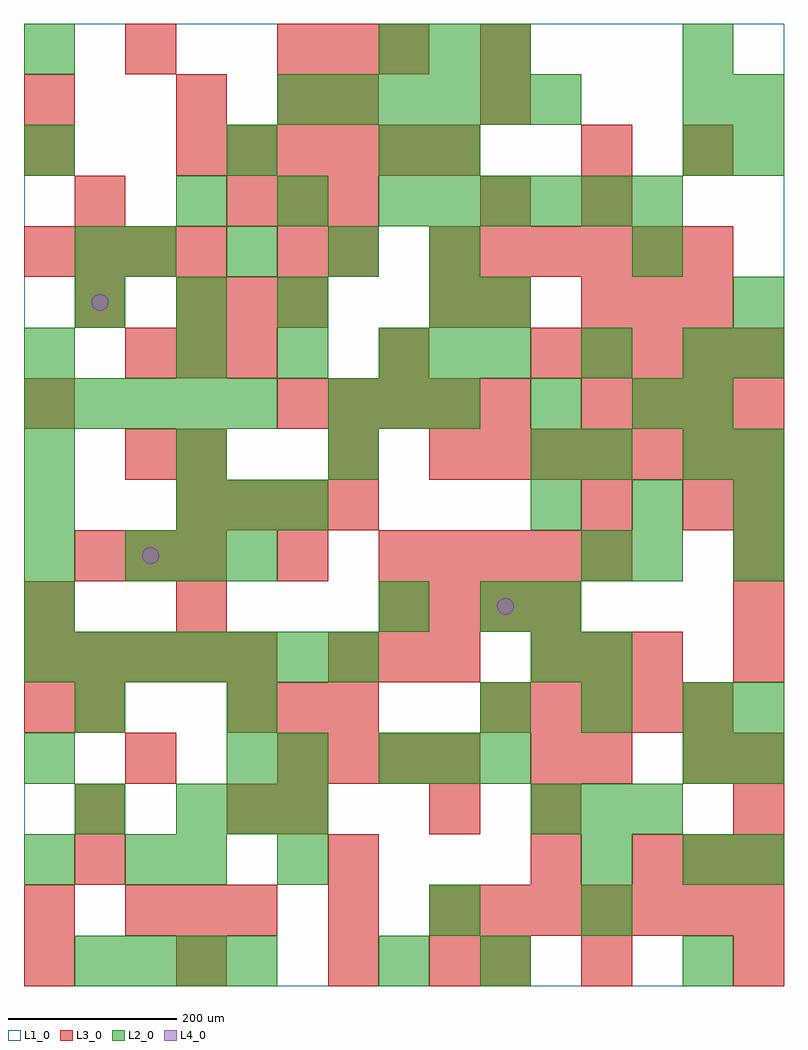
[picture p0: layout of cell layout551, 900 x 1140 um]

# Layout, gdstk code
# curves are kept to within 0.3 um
import gdstk
lib = gdstk.Library(unit=1e-6, precision=1e-09)
def R(c, l, rs):  # rectangles x0, y0, x1, y1
    for r in rs: c.add(gdstk.rectangle(r[:2], r[2:], *l))
def A(c, l, x, y, w, h, nx, ny, dx, dy):  # array of equal rectangles
    R(c, l, [(x+i*dx, y+j*dy, x+i*dx+w, y+j*dy+h) for i in range(nx) for j in range(ny)])
def P(c, l, *ps):  # polygons
    for p in ps: c.add(gdstk.Polygon(p, *l))
L1_0 = (1, 0)
L2_0 = (2, 0)
L3_0 = (3, 0)
L4_0 = (4, 0)

layout551 = lib.new_cell('layout551')
R(layout551, L1_0, [(0,0,900,1140)])
A(layout551, L2_0, 60, 0, 60, 60, 4, 1, 60, 0)
A(layout551, L2_0, 780, 0, 60, 60, 1, 3, 0, 120)
A(layout551, L2_0, 180, 180, 60, 60, 3, 2, 60, 360)
A(layout551, L2_0, 600, 180, 60, 60, 3, 1, 60, 0)
A(layout551, L2_0, 420, 240, 60, 60, 3, 2, 60, 840)
A(layout551, L2_0, 540, 300, 60, 60, 3, 2, 120, 420)
A(layout551, L2_0, 0, 360, 60, 60, 7, 1, 60, 0)
A(layout551, L2_0, 660, 360, 60, 60, 1, 3, 0, 120)
A(layout551, L2_0, 0, 420, 60, 60, 1, 3, 0, 60)
A(layout551, L2_0, 120, 480, 60, 60, 3, 1, 60, 0)
A(layout551, L2_0, 720, 480, 60, 60, 1, 3, 0, 180)
A(layout551, L2_0, 840, 480, 60, 60, 1, 3, 0, 120)
A(layout551, L2_0, 600, 540, 60, 60, 3, 1, 120, 0)
A(layout551, L2_0, 0, 600, 60, 60, 3, 1, 180, 0)
A(layout551, L2_0, 0, 660, 60, 60, 5, 1, 60, 0)
A(layout551, L2_0, 360, 660, 60, 60, 3, 1, 60, 0)
A(layout551, L2_0, 180, 720, 60, 60, 3, 2, 120, 180)
A(layout551, L2_0, 60, 780, 60, 60, 3, 1, 120, 0)
A(layout551, L2_0, 120, 840, 60, 60, 4, 1, 120, 0)
A(layout551, L2_0, 480, 900, 60, 60, 5, 1, 60, 0)
A(layout551, L2_0, 780, 960, 60, 60, 1, 3, 0, 60)
A(layout551, L2_0, 300, 1020, 60, 60, 6, 1, 60, 0)
R(layout551, L2_0, [(420,0,480,60), (540,0,600,60), (480,60,540,120), (660,60,720,120), (0,120,60,180), (120,120,180,180), (180,120,240,180), (300,120,360,180), (660,120,720,180), (840,120,900,180), (60,180,120,240), (0,240,60,300), (240,240,300,300), (300,240,360,300), (840,240,900,300), (60,300,120,360), (240,300,300,360), (840,300,900,360), (600,360,660,420), (420,420,480,480), (540,420,600,480), (600,420,660,480), (600,600,660,660), (780,600,840,660), (600,660,660,720), (780,660,840,720), (0,720,60,780), (480,720,540,780), (480,780,540,840), (540,780,600,840), (840,780,900,840), (60,840,120,900), (0,960,60,1020), (240,960,300,1020), (420,960,480,1020), (480,960,540,1020), (840,960,900,1020), (840,1020,900,1080), (0,1080,60,1140)])
A(layout551, L3_0, 0, 0, 60, 60, 3, 1, 180, 0)
A(layout551, L3_0, 120, 60, 60, 60, 3, 2, 60, 660)
A(layout551, L3_0, 480, 60, 60, 60, 7, 2, 60, 540)
A(layout551, L3_0, 600, 120, 60, 60, 1, 3, 0, 60)
A(layout551, L3_0, 720, 120, 60, 60, 3, 1, 60, 0)
A(layout551, L3_0, 300, 240, 60, 60, 4, 1, 60, 0)
A(layout551, L3_0, 240, 300, 60, 60, 3, 2, 60, 600)
A(layout551, L3_0, 540, 300, 60, 60, 5, 1, 60, 0)
A(layout551, L3_0, 0, 360, 60, 60, 5, 1, 60, 0)
A(layout551, L3_0, 360, 360, 60, 60, 3, 1, 60, 0)
A(layout551, L3_0, 600, 360, 60, 60, 3, 1, 60, 0)
A(layout551, L3_0, 840, 360, 60, 60, 1, 4, 0, 60)
A(layout551, L3_0, 420, 420, 60, 60, 4, 1, 60, 0)
A(layout551, L3_0, 60, 480, 60, 60, 3, 1, 60, 0)
A(layout551, L3_0, 420, 480, 60, 60, 5, 1, 60, 0)
A(layout551, L3_0, 180, 540, 60, 60, 4, 1, 60, 0)
A(layout551, L3_0, 300, 660, 60, 60, 5, 1, 60, 0)
A(layout551, L3_0, 660, 660, 60, 60, 4, 1, 60, 0)
A(layout551, L3_0, 600, 720, 60, 60, 5, 1, 60, 0)
A(layout551, L3_0, 180, 780, 60, 60, 3, 1, 60, 0)
A(layout551, L3_0, 540, 780, 60, 60, 1, 3, 0, 120)
A(layout551, L3_0, 660, 780, 60, 60, 3, 1, 60, 0)
A(layout551, L3_0, 0, 840, 60, 60, 4, 1, 60, 0)
A(layout551, L3_0, 480, 840, 60, 60, 6, 1, 60, 0)
A(layout551, L3_0, 180, 960, 60, 60, 6, 1, 60, 0)
A(layout551, L3_0, 300, 1080, 60, 60, 3, 1, 60, 0)
R(layout551, L3_0, [(480,0,540,60), (540,0,600,60), (660,0,720,60), (840,0,900,60), (0,60,60,120), (360,60,420,120), (60,120,120,180), (360,120,420,180), (60,180,120,240), (240,180,300,240), (300,180,360,240), (480,180,540,240), (840,180,900,240), (120,240,180,300), (660,240,720,300), (780,240,840,300), (840,240,900,300), (0,300,60,360), (60,300,120,360), (0,420,60,480), (180,420,240,480), (300,480,360,540), (660,540,720,600), (780,540,840,600), (120,600,180,660), (180,600,240,660), (360,600,420,660), (0,660,60,720), (420,720,480,780), (60,780,120,840), (480,780,540,840), (300,840,360,900), (360,840,420,900), (60,900,120,960), (660,900,720,960), (0,960,60,1020), (660,960,720,1020), (780,960,840,1020), (0,1020,60,1080), (180,1020,240,1080), (300,1020,360,1080), (360,1020,420,1080), (120,1080,180,1140), (540,1080,600,1140)])
P(layout551, L4_0, [(100,810),(99.239,813.827),(97.071,817.071),(93.827,819.239),(90,820),(86.173,819.239),(82.929,817.071),(80.761,813.827),(80,810),(80.761,806.173),(82.929,802.929),(86.173,800.761),(90,800),(93.827,800.761),(97.071,802.929),(99.239,806.173)],
  [(160,510),(159.239,513.827),(157.071,517.071),(153.827,519.239),(150,520),(146.173,519.239),(142.929,517.071),(140.761,513.827),(140,510),(140.761,506.173),(142.929,502.929),(146.173,500.761),(150,500),(153.827,500.761),(157.071,502.929),(159.239,506.173)],
  [(580,450),(579.239,453.827),(577.071,457.071),(573.827,459.239),(570,460),(566.173,459.239),(562.929,457.071),(560.761,453.827),(560,450),(560.761,446.173),(562.929,442.929),(566.173,440.761),(570,440),(573.827,440.761),(577.071,442.929),(579.239,446.173)])

lib.write_gds('layout551.gds')
